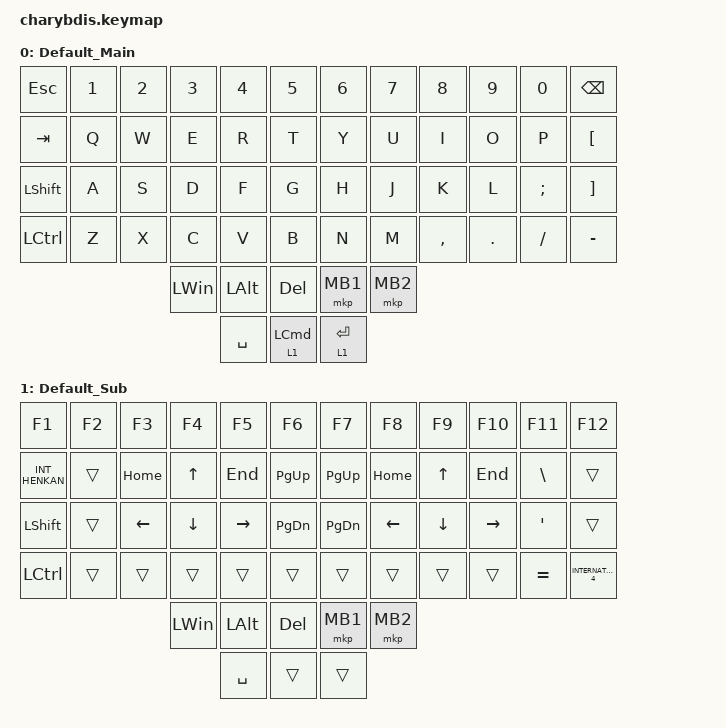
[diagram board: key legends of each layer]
#include "keys_de_swiss.h"
#include <dt-bindings/zmk/mouse.h>
#include <behaviors/mouse_keys.dtsi>
#include <behaviors.dtsi>
#include <dt-bindings/zmk/keys.h>
#include <dt-bindings/zmk/pointing.h>

// OS設定を日本語キーボードのまま使用するための変換定義

#define JP_DQUOTE       AT                // "
#define JP_AMPERSAND    CARET             // &
#define JP_QUOTE        AMPERSAND         // '
#define JP_EQUAL        UNDER             // =
#define JP_CARET        EQUAL             // ^
#define JP_YEN          0x89              // ¥
#define JP_PLUS         COLON             // +
#define JP_TILDE        PLUS              // ~
#define JP_PIPE         LS(0x89)          // |
#define JP_AT           LEFT_BRACKET      // @
#define JP_COLON        SINGLE_QUOTE      // :
#define JP_ASTERISK     DOUBLE_QUOTES     // *
#define JP_BACKQUOTE    LEFT_BRACE        // `
#define JP_UNDERSCORE   LS(0x87)          // _
#define JP_LBRACKET     RIGHT_BRACKET     // [
#define JP_RBRACKET     BACKSLASH         // ]
#define JP_LPAREN       ASTERISK          // (
#define JP_RPAREN       LEFT_PARENTHESIS  // )
#define JP_LBRACE       RIGHT_BRACE       // {
#define JP_RBRACE       PIPE              // }
#define JP_KANA         LANGUAGE_1        // かな
#define JP_EISU         LANGUAGE_2        // 英数
#define JP_HANZEN       GRAVE             // 半角/全角

// / {
//     chosen { zmk,matrix_transform = &default_transform; };
// };

/ {
    /* input config for mouse move mode */

    trackball_listener {
        compatible = "zmk,input-behavior-listener";
        device = <&vtrackball>;
        layers = <0 1 5 8>;
        evt-type = <INPUT_EV_REL>;
        x-input-code = <INPUT_REL_X>;
        y-input-code = <INPUT_REL_Y>;
        scale-multiplier = <1>;
        scale-divisor = <2>;

        // bindings = <&ib_toggle_layer 7>;
    };

    /* input config for snipe mode */

    trackball_snipe_listener {
        compatible = "zmk,input-behavior-listener";
        device = <&vtrackball>;
        layers = <12>;
        evt-type = <INPUT_EV_REL>;
        x-input-code = <INPUT_REL_X>;
        y-input-code = <INPUT_REL_Y>;
        scale-multiplier = <1>;
        scale-divisor = <4>;
    };

    /* input config for mouse scroll mode */

    trackball_scroll_listener {
        compatible = "zmk,input-behavior-listener";
        device = <&vtrackball>;
        layers = <11>;
        evt-type = <INPUT_EV_REL>;
        x-input-code = <INPUT_REL_MISC>;
        y-input-code = <INPUT_REL_WHEEL>;
        y-invert;
        bindings = <&ib_wheel_scaler 1 14>;
    };

    /* define a resolution down scaler only for INPUT_REL_WHEEL */

    ib_wheel_scaler: ib_wheel_scaler {
        compatible = "zmk,input-behavior-scaler";
        #binding-cells = <2>;
        evt-type = <INPUT_EV_REL>;
        input-code = <INPUT_REL_WHEEL>;
    };

    /* adjust cooldown waiting period for mouse key layer after activated */

    ib_toggle_layer: ib_toggle_layer {
        compatible = "zmk,input-behavior-tog-layer";
        #binding-cells = <1>;
        time-to-live-ms = <750>;
    };

    // #define QUERTZ    0
    // #define NUMBERS   1
    // #define NAV-FUN   2
    // #define MAC       3
    // #define MAC-NUM   4
    // #define MAC-NAV   5
    // #define GAME      6
    // #define GAME-NUM  7
    // #define GAME-NAV  8
    // #define SCROLL    9
    // #define SNIPER   10
    // #define FN       11

    combos {
        compatible = "zmk,combos";

        rh_leftClick {
            bindings = <&mkp LCLK>;
            key-positions = <43 44>;
        };

        rh_rightClick {
            bindings = <&mkp RCLK>;
            key-positions = <44 45>;
        };

        rh_middleClick {
            bindings = <&mkp MCLK>;
            key-positions = <44 45 43>;
        };

        lh_leftClick {
            bindings = <&mkp LCLK>;
            key-positions = <40 39>;
        };

        lh_rightClick {
            bindings = <&mkp RCLK>;
            key-positions = <38 39>;
        };

        lh_middleClick {
            bindings = <&mkp MCLK>;
            key-positions = <38 39 40>;
        };

        CAPZ {
            bindings = <&kp CAPSLOCK>;
            key-positions = <24 25>;
        };
    };

    keymap {
        compatible = "zmk,keymap";

        Default_Main {
            bindings = <
&kp ESC           &kp N1  &kp N2  &kp N3        &kp N4        &kp N5                &kp N6       &kp N7    &kp N8     &kp N9   &kp N0    &kp BSPC
&kp TAB           &kp Q   &kp W   &kp E         &kp R         &kp T                 &kp Y        &kp U     &kp I      &kp O    &kp P     &kp LBKT
&kp LSHFT         &kp A   &kp S   &kp D         &kp F         &kp G                 &kp H        &kp J     &kp K      &kp L    &kp SEMI  &kp RBKT
&kp LEFT_CONTROL  &kp Z   &kp X   &kp C         &kp V         &kp B                 &kp N        &kp M     &kp COMMA  &kp DOT  &kp FSLH  &kp MINUS
                                  &kp LEFT_WIN  &kp LEFT_ALT  &kp DELETE            &mkp MB1     &mkp MB2
                                                &kp SPACE     &lt 1 LEFT_COMMAND    &lt 1 ENTER
            >;
        };

        Default_Sub {
            bindings = <
&kp F1            &kp F2  &kp F3          &kp F4          &kp F5           &kp F6           &kp F7         &kp F8          &kp F9        &kp F10          &kp F11           &kp F12
&kp INT_HENKAN    &trans  &kp HOME        &kp UP_ARROW    &kp END          &kp PAGE_UP      &kp PAGE_UP    &kp HOME        &kp UP_ARROW  &kp END          &kp BACKSLASH     &trans
&kp LEFT_SHIFT    &trans  &kp LEFT_ARROW  &kp DOWN_ARROW  &kp RIGHT_ARROW  &kp PAGE_DOWN    &kp PAGE_DOWN  &kp LEFT_ARROW  &kp DOWN      &kp RIGHT_ARROW  &kp SINGLE_QUOTE  &trans
&kp LEFT_CONTROL  &trans  &trans          &trans          &trans           &trans           &trans         &trans          &trans        &trans           &kp EQUAL         &kp INTERNATIONAL_4
                                          &kp LEFT_WIN    &kp LEFT_ALT     &kp DELETE       &mkp MB1       &mkp MB2
                                                          &kp SPACE        &trans           &trans
            >;
        };
    };
};
